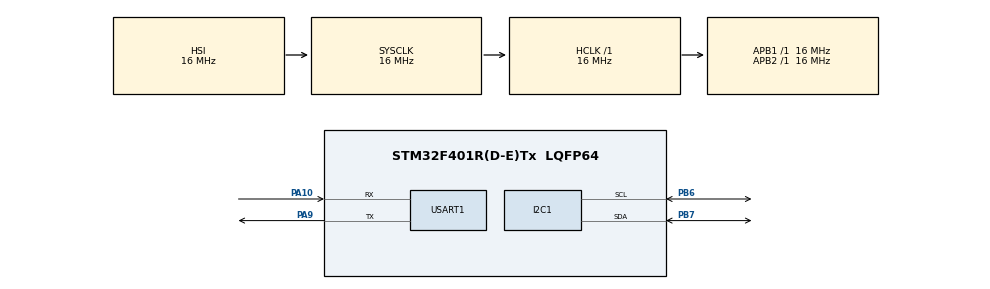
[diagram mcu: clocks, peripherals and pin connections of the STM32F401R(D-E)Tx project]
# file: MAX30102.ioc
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Mcu.Family=STM32F4
Mcu.Name=STM32F401R(D-E)Tx
Mcu.Package=LQFP64
NVIC.PriorityGroup=NVIC_PRIORITYGROUP_4
PA10.Mode=Asynchronous
PA10.Signal=USART1_RX
PA9.Mode=Asynchronous
PA9.Signal=USART1_TX
PB6.Mode=I2C
PB6.Signal=I2C1_SCL
PB7.Mode=I2C
PB7.Signal=I2C1_SDA
ProjectManager.HeapSize=0x200
ProjectManager.StackSize=0x400
ProjectManager.TargetToolchain=STM32CubeIDE
RCC.AHBFreq_Value=16000000
RCC.APB1Freq_Value=16000000
RCC.APB2Freq_Value=16000000
RCC.CortexFreq_Value=16000000
RCC.HSE_VALUE=25000000
RCC.HSI_VALUE=16000000
RCC.LSE_VALUE=32768
RCC.SYSCLKFreq_VALUE=16000000
RCC.VCOOutputFreq_Value=192000000
USART1.VirtualMode=VM_ASYNC
board=custom

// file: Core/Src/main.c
/* USER CODE BEGIN Header */
/**
  ******************************************************************************
  * @file           : main.c
  * @brief          : Main program body
  ******************************************************************************
  * @attention
  *
  * Copyright (c) 2025 STMicroelectronics.
  * All rights reserved.
  *
  * This software is licensed under terms that can be found in the LICENSE file
  * in the root directory of this software component.
  * If no LICENSE file comes with this software, it is provided AS-IS.
  *
  ******************************************************************************
  */
/* USER CODE END Header */
#include "main.h"

/* USER CODE BEGIN Includes */
#include <stdio.h>
#include <string.h>

/* USER CODE END Includes */

I2C_HandleTypeDef hi2c1;

UART_HandleTypeDef huart1;

void SystemClock_Config(void);
static void MX_GPIO_Init(void);
static void MX_I2C1_Init(void);
static void MX_USART1_UART_Init(void);

int main(void)
{

  /* MCU Configuration--------------------------------------------------------*/

  /* Reset of all peripherals, Initializes the Flash interface and the Systick. */
  HAL_Init();

  /* USER CODE BEGIN Init */

  // Configuration parameters

  MODE_CONFIG mode_config = {0, 0, 0x011};
  SPO2_CONFIG spo2_config = {1, 3, 4};
  FIFO_CONFIG fifo_config = {0, 0, 0};
  LED_PULSE led_pulse = {0x02, 0x02};

  // Data buffers
  MAX30102_DATA max30102_data = {0, 0};
  char uart_message[64];

  /* USER CODE END Init */

  /* Configure the system clock */
  SystemClock_Config();

  /* Initialize all configured peripherals */
  MX_GPIO_Init();
  MX_I2C1_Init();
  MX_USART1_UART_Init();
  /* USER CODE BEGIN 2 */

  // clear the interrupts enable registers to not activate interrupts
  uint8_t interr_en = 0;
  WriteRegister(&hi2c1, (MAX30102_ADDR<<1) | 1, INTERRUPT_ENABLE_1, &interr_en, 1);
  WriteRegister(&hi2c1, (MAX30102_ADDR<<1) | 1, INTERRUPT_ENABLE_2, &interr_en, 1);

  SetModeConfiguration(&hi2c1, &mode_config);
  SetSpO2Configuration(&hi2c1, &spo2_config);
  SetLEDPulseAmplitude(&hi2c1, &led_pulse);
  SetFIFOConfiguration(&hi2c1, &fifo_config);
  ResetFIFOPointers(&hi2c1);

  /* USER CODE END 2 */

  HAL_UART_Transmit(&huart1, (uint8_t *)"TEST\r\n", 6, HAL_MAX_DELAY);

  /* Infinite loop */
  while (1)
  {

    /* USER CODE BEGIN 3 */
	  HAL_Delay(2);
	  ReadSample(&hi2c1, &max30102_data, &mode_config);

	  sprintf(uart_message, "IR:%lu, RED:%lu\r\n", max30102_data.IR_DATA, max30102_data.RED_DATA);

	  HAL_UART_Transmit(&huart1, ( uint8_t *)uart_message, strlen(uart_message), HAL_MAX_DELAY);
  }
  /* USER CODE END 3 */
}

void SystemClock_Config(void)
{
  RCC_OscInitTypeDef RCC_OscInitStruct = {0};
  RCC_ClkInitTypeDef RCC_ClkInitStruct = {0};

  /** Configure the main internal regulator output voltage
  */
  __HAL_RCC_PWR_CLK_ENABLE();
  __HAL_PWR_VOLTAGESCALING_CONFIG(PWR_REGULATOR_VOLTAGE_SCALE2);

  /** Initializes the RCC Oscillators according to the specified parameters
  * in the RCC_OscInitTypeDef structure.
  */
  RCC_OscInitStruct.OscillatorType = RCC_OSCILLATORTYPE_HSI;
  RCC_OscInitStruct.HSIState = RCC_HSI_ON;
  RCC_OscInitStruct.HSICalibrationValue = RCC_HSICALIBRATION_DEFAULT;
  RCC_OscInitStruct.PLL.PLLState = RCC_PLL_NONE;
  if (HAL_RCC_OscConfig(&RCC_OscInitStruct) != HAL_OK)
  {
    Error_Handler();
  }

  /** Initializes the CPU, AHB and APB buses clocks
  */
  RCC_ClkInitStruct.ClockType = RCC_CLOCKTYPE_HCLK|RCC_CLOCKTYPE_SYSCLK
                              |RCC_CLOCKTYPE_PCLK1|RCC_CLOCKTYPE_PCLK2;
  RCC_ClkInitStruct.SYSCLKSource = RCC_SYSCLKSOURCE_HSI;
  RCC_ClkInitStruct.AHBCLKDivider = RCC_SYSCLK_DIV1;
  RCC_ClkInitStruct.APB1CLKDivider = RCC_HCLK_DIV1;
  RCC_ClkInitStruct.APB2CLKDivider = RCC_HCLK_DIV1;

  if (HAL_RCC_ClockConfig(&RCC_ClkInitStruct, FLASH_LATENCY_0) != HAL_OK)
  {
    Error_Handler();
  }
}

static void MX_I2C1_Init(void)
{

  hi2c1.Instance = I2C1;
  hi2c1.Init.ClockSpeed = 100000;
  hi2c1.Init.DutyCycle = I2C_DUTYCYCLE_2;
  hi2c1.Init.OwnAddress1 = 0;
  hi2c1.Init.AddressingMode = I2C_ADDRESSINGMODE_7BIT;
  hi2c1.Init.DualAddressMode = I2C_DUALADDRESS_DISABLE;
  hi2c1.Init.OwnAddress2 = 0;
  hi2c1.Init.GeneralCallMode = I2C_GENERALCALL_DISABLE;
  hi2c1.Init.NoStretchMode = I2C_NOSTRETCH_DISABLE;
  if (HAL_I2C_Init(&hi2c1) != HAL_OK)
  {
    Error_Handler();
  }

}

static void MX_USART1_UART_Init(void)
{

  huart1.Instance = USART1;
  huart1.Init.BaudRate = 115200;
  huart1.Init.WordLength = UART_WORDLENGTH_8B;
  huart1.Init.StopBits = UART_STOPBITS_1;
  huart1.Init.Parity = UART_PARITY_NONE;
  huart1.Init.Mode = UART_MODE_TX_RX;
  huart1.Init.HwFlowCtl = UART_HWCONTROL_NONE;
  huart1.Init.OverSampling = UART_OVERSAMPLING_16;
  if (HAL_UART_Init(&huart1) != HAL_OK)
  {
    Error_Handler();
  }

}

static void MX_GPIO_Init(void)
{

  /* GPIO Ports Clock Enable */
  __HAL_RCC_GPIOA_CLK_ENABLE();
  __HAL_RCC_GPIOB_CLK_ENABLE();

}

void Error_Handler(void)
{
  __disable_irq();
  while (1)
  {
  }
}
